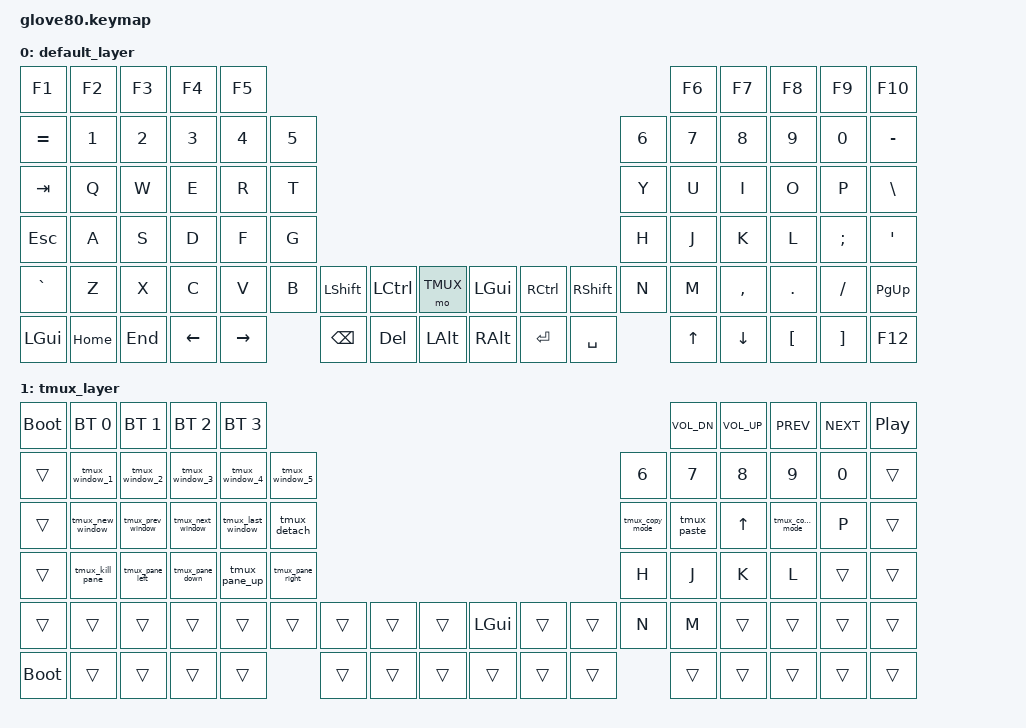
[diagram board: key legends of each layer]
/*
 * Copyright (c) 2020 The ZMK Contributors
 *
 * SPDX-License-Identifier: MIT
 */

#include <behaviors.dtsi>
#include <dt-bindings/zmk/keys.h>
#include <dt-bindings/zmk/bt.h>
#include <dt-bindings/zmk/ext_power.h>
#include <dt-bindings/zmk/outputs.h>

// layers - minimal setup
#define DEFAULT 0
#define TMUX 1

/ {
    behaviors {
        // No complex behaviors needed for minimal setup
    };

    macros {
        // TMUX macros using Ctrl-Space prefix (matches your tmux config)
        tmux_new_window: tmux_new_window {
            label = "TMUX_NEW_WINDOW";
            compatible = "zmk,behavior-macro";
            #binding-cells = <0>;
            bindings = <&kp LC(SPACE) &kp C>;
        };

        tmux_detach: tmux_detach {
            label = "TMUX_DETACH";
            compatible = "zmk,behavior-macro";
            #binding-cells = <0>;
            bindings = <&kp LC(SPACE) &kp D>;
        };

        tmux_last_window: tmux_last_window {
            label = "TMUX_LAST_WINDOW";
            compatible = "zmk,behavior-macro";
            #binding-cells = <0>;
            bindings = <&kp LC(SPACE) &kp L>;
        };

        tmux_next_window: tmux_next_window {
            label = "TMUX_NEXT_WINDOW";
            compatible = "zmk,behavior-macro";
            #binding-cells = <0>;
            bindings = <&kp LC(SPACE) &kp N>;
        };

        tmux_prev_window: tmux_prev_window {
            label = "TMUX_PREV_WINDOW";
            compatible = "zmk,behavior-macro";
            #binding-cells = <0>;
            bindings = <&kp LC(SPACE) &kp P>;
        };

        tmux_kill_pane: tmux_kill_pane {
            label = "TMUX_KILL_PANE";
            compatible = "zmk,behavior-macro";
            #binding-cells = <0>;
            bindings = <&kp LC(SPACE) &kp X>;
        };

        tmux_split_v: tmux_split_v {
            label = "TMUX_SPLIT_VERTICAL";
            compatible = "zmk,behavior-macro";
            #binding-cells = <0>;
            bindings = <&kp LC(SPACE) &kp LS(BSLH)>;
        };

        tmux_split_h: tmux_split_h {
            label = "TMUX_SPLIT_HORIZONTAL";
            compatible = "zmk,behavior-macro";
            #binding-cells = <0>;
            bindings = <&kp LC(SPACE) &kp MINUS>;
        };

        tmux_pane_left: tmux_pane_left {
            label = "TMUX_PANE_LEFT";
            compatible = "zmk,behavior-macro";
            #binding-cells = <0>;
            bindings = <&kp LC(SPACE) &kp H>;
        };

        tmux_pane_down: tmux_pane_down {
            label = "TMUX_PANE_DOWN";
            compatible = "zmk,behavior-macro";
            #binding-cells = <0>;
            bindings = <&kp LC(SPACE) &kp J>;
        };

        tmux_pane_up: tmux_pane_up {
            label = "TMUX_PANE_UP";
            compatible = "zmk,behavior-macro";
            #binding-cells = <0>;
            bindings = <&kp LC(SPACE) &kp K>;
        };

        tmux_pane_right: tmux_pane_right {
            label = "TMUX_PANE_RIGHT";
            compatible = "zmk,behavior-macro";
            #binding-cells = <0>;
            bindings = <&kp LC(SPACE) &kp L>;
        };

        tmux_window_1: tmux_window_1 {
            label = "TMUX_WINDOW_1";
            compatible = "zmk,behavior-macro";
            #binding-cells = <0>;
            bindings = <&kp LC(SPACE) &kp N1>;
        };

        tmux_window_2: tmux_window_2 {
            label = "TMUX_WINDOW_2";
            compatible = "zmk,behavior-macro";
            #binding-cells = <0>;
            bindings = <&kp LC(SPACE) &kp N2>;
        };

        tmux_window_3: tmux_window_3 {
            label = "TMUX_WINDOW_3";
            compatible = "zmk,behavior-macro";
            #binding-cells = <0>;
            bindings = <&kp LC(SPACE) &kp N3>;
        };

        tmux_window_4: tmux_window_4 {
            label = "TMUX_WINDOW_4";
            compatible = "zmk,behavior-macro";
            #binding-cells = <0>;
            bindings = <&kp LC(SPACE) &kp N4>;
        };

        tmux_window_5: tmux_window_5 {
            label = "TMUX_WINDOW_5";
            compatible = "zmk,behavior-macro";
            #binding-cells = <0>;
            bindings = <&kp LC(SPACE) &kp N5>;
        };

        tmux_command_mode: tmux_command_mode {
            label = "TMUX_COMMAND_MODE";
            compatible = "zmk,behavior-macro";
            #binding-cells = <0>;
            bindings = <&kp LC(SPACE) &kp LS(SEMI)>;
        };

        tmux_copy_mode: tmux_copy_mode {
            label = "TMUX_COPY_MODE";
            compatible = "zmk,behavior-macro";
            #binding-cells = <0>;
            bindings = <&kp LC(SPACE) &kp SPACE>;
        };

        tmux_paste: tmux_paste {
            label = "TMUX_PASTE";
            compatible = "zmk,behavior-macro";
            #binding-cells = <0>;
            bindings = <&kp LC(SPACE) &kp P>;
        };
    };

    keymap {
        compatible = "zmk,keymap";

        default_layer {
            // ---------------------------------------------------------------------------------------------------------------------------------
            // |  F1   |  F2 |  F3 |  F4  |  F5  |                                                               |  F6   |  F7   |  F8  |   F9  |  F10 |
            // |  =    |  1  |  2  |  3   |  4   |  5   |                                                 |  6   |   7   |   8   |  9   |   0   |   -  |
            // |  TAB  |  Q  |  W  |  E   |  R   |  T   |                                                 |  Y   |   U   |   I   |  O   |   P   |   \  |
            // |  ESC  |  A  |  S  |  D   |  F   |  G   |                                                 |  H   |   J   |   K   |  L   |   ;   |   '  |
            // |   `   |  Z  |  X  |  C   |  V   |  B   | LSHFT | LCTRL | TMUX  | | LGUI  | RCTRL | RSHFT |  N   |   M   |   ,   |  .   |   /   | PGUP |
            // | F11   | HOME| END | LEFT | RIGHT|      | BSPC  | DEL   | LALT  | | RALT  | RET   | SPACE |      |  UP   | DOWN  |  [   |   ]   | F12  |

            bindings = <
            &kp F1         &kp F2   &kp F3      &kp F4      &kp F5                                                                                         &kp F6  &kp F7      &kp F8      &kp F9      &kp F10
            &kp EQUAL      &kp N1   &kp N2      &kp N3      &kp N4      &kp N5                                                                     &kp N6  &kp N7  &kp N8      &kp N9      &kp N0      &kp MINUS
            &kp TAB        &kp Q    &kp W       &kp E       &kp R       &kp T                                                                      &kp Y   &kp U   &kp I       &kp O       &kp P       &kp BSLH
            &kp ESC        &kp A    &kp S       &kp D       &kp F       &kp G                                                                      &kp H   &kp J   &kp K       &kp L       &kp SEMI    &kp SQT
            &kp GRAVE      &kp Z    &kp X       &kp C       &kp V       &kp B   &kp LSHFT   &kp LCTRL   &mo TMUX   &kp LGUI  &kp RCTRL &kp RSHFT   &kp N   &kp M   &kp COMMA   &kp DOT     &kp FSLH    &kp PG_UP
            &kp LGUI       &kp HOME &kp END     &kp LEFT    &kp RIGHT           &kp BSPC    &kp DEL     &kp LALT   &kp RALT  &kp RET   &kp SPACE           &kp UP  &kp DOWN    &kp LBKT    &kp RBKT    &kp F12
            >;
        };

        tmux_layer {
            // ---------------------------------------------------------------------------------------------------------------------------------
            // | BOOT  | BT1 | BT2 | BT3 | BT4  |                                                               | VOL-  | VOL+  | PREV | NEXT | PLAY |
            // | =     | WIN1| WIN2| WIN3| WIN4 | WIN5 |                                                 | 6    | 7     | 8     | 9    | 0    | -    |
            // | TAB   | NEW | PREV| NEXT| LAST | DETACH|                                                | COPY | PASTE | UP    | CMD  | P    | \    |
            // | ESC   | KILL| ←   | ↓   | ↑    | →    |                                                 | H    | J     | K     | L    | ;    | '    |
            // | `     | Z   | X   | C   | VSPL | HSPL | LSHFT| LCTRL| ___  | | LGUI | RCTRL| RSHFT| N    | M     | ,     | .    | /    | PGUP |
            // | BOOT  |HOME |END  |LEFT |RIGHT |      | BSPC | DEL  | LALT | | RALT | RET  | SPACE|      | UP    | DOWN  | [    | ]    | PGDN |

            bindings = <
            &bootloader    &bt BT_SEL 0    &bt BT_SEL 1    &bt BT_SEL 2    &bt BT_SEL 3                                                                                                    &kp C_VOL_DN    &kp C_VOL_UP    &kp C_PREV      &kp C_NEXT      &kp C_PP
            &trans         &tmux_window_1  &tmux_window_2  &tmux_window_3  &tmux_window_4  &tmux_window_5                                                                  &kp N6          &kp N7          &kp N8          &kp N9          &kp N0          &trans
            &trans         &tmux_new_window &tmux_prev_window &tmux_next_window &tmux_last_window &tmux_detach                                                            &tmux_copy_mode &tmux_paste     &kp UP          &tmux_command_mode &kp P        &trans
            &trans         &tmux_kill_pane &tmux_pane_left &tmux_pane_down &tmux_pane_up   &tmux_pane_right                                                             &kp H           &kp J           &kp K           &kp L           &trans          &trans
            &trans         &trans          &trans          &trans          &trans   &trans   &trans      &trans      &trans      &kp LGUI      &trans      &trans      &kp N           &kp M           &trans          &trans          &trans          &trans
            &bootloader    &trans          &trans          &trans          &trans                          &trans      &trans      &trans      &trans      &trans      &trans                      &trans          &trans          &trans          &trans          &trans
            >;
        };
    };
};
